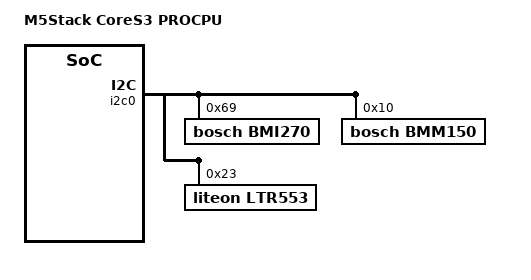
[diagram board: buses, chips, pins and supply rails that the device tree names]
/*
 * Copyright (c) 2024 TOKITA Hiroshi
 *
 * SPDX-License-Identifier: Apache-2.0
 */

/dts-v1/;

#include "m5stack_cores3_procpu_common.dtsi"

/ {
	model = "M5Stack CoreS3 PROCPU";
	compatible = "m5stack,cores3";

	aliases {
		accel0 = &bmi270;
		magn0 = &bmm150;
		light-sensor = &ltr553;
		prox-sensor0 = &ltr553;
	};

	chosen {
		zephyr,camera = &lcd_cam_dvp;
	};
};

&i2c0 {
	bmi270: bmi270@69 {
		compatible = "bosch,bmi270";
		reg = <0x69>;
	};

	bmm150: bmm150@10 {
		compatible = "bosch,bmm150";
		status = "okay";
		reg = <0x10>;
	};

	ltr553: ltr553@23 {
		compatible = "liteon,ltr553";
		reg = <0x23>;
		status = "okay";
	};

	gc0308: gc0308@21 {
		compatible = "galaxycore,gc0308";
		reg = <0x21>;
		reset-gpios = <&aw9523b_gpio 8 GPIO_ACTIVE_LOW>;
		status = "disabled";

		port {
			gc0308_ep_out: endpoint {
				remote-endpoint-label = "dvp_ep_in";
			};
		};
	};
};

&lcd_cam {
	pinctrl-0 = <&lcd_cam_default>;
	pinctrl-names = "default";

	lcd_cam_dvp {
		cam-clk = <20000000>;
		data-width = <8>;
		source = <&gc0308>;
		vsync-filter-thres = <4>;
		status = "disabled";

		port {
			dvp_ep_in: endpoint {
				remote-endpoint-label = "gc0308_ep_out";
			};
		};
	};
};

&regulator {
	vddcam_3v3: ALDO3 {
		regulator-min-microvolt = <3000000>;
		/* regulator-init-microvolt = <3300000>; */
		regulator-max-microvolt = <3500000>;
		regulator-boot-on;
		status = "okay";
	};

	avdd: BLDO1 {
		regulator-min-microvolt = <2700000>;
		/* regulator-init-microvolt = <2800000>; */
		regulator-max-microvolt = <3300000>;
		regulator-boot-on;
		status = "okay";
	};
};

&dvdd {
	regulator-boot-on;
};
